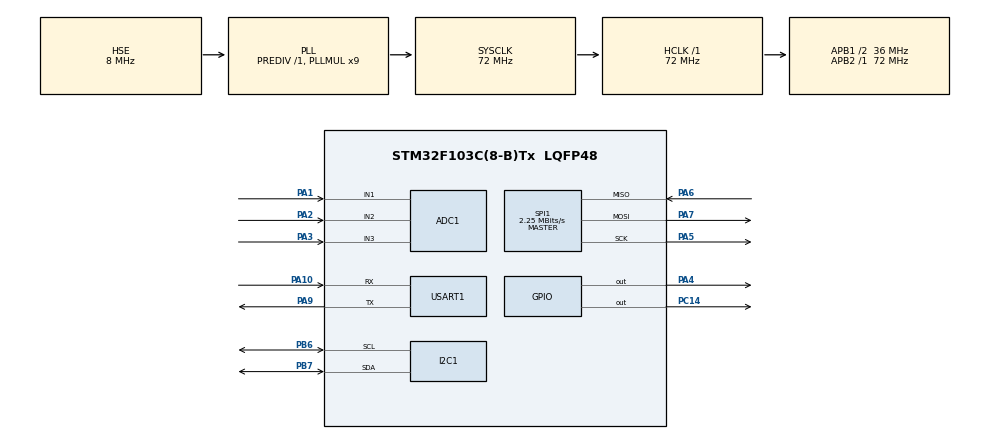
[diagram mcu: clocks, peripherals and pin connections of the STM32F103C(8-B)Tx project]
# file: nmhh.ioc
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ADC1.Channel-1\#ChannelRegularConversion=ADC_CHANNEL_1
ADC1.NbrOfConversion=1
ADC1.NbrOfConversionFlag=1
ADC1.Rank-1\#ChannelRegularConversion=1
ADC1.SamplingTime-1\#ChannelRegularConversion=ADC_SAMPLETIME_239CYCLES_5
ADC1.master=1
I2C1.GeneralCallMode=I2C_GENERALCALL_ENABLE
I2C1.OwnAddress=0x53
Mcu.Family=STM32F1
Mcu.Name=STM32F103C(8-B)Tx
Mcu.Package=LQFP48
NVIC.I2C1_ER_IRQn=true\:0\:0\:false\:false\:true\:true\:true\:true
NVIC.I2C1_EV_IRQn=true\:0\:0\:false\:false\:true\:true\:true\:true
NVIC.PriorityGroup=NVIC_PRIORITYGROUP_4
PA1.Signal=ADCx_IN1
PA10.Mode=Asynchronous
PA10.Signal=USART1_RX
PA13.Mode=Serial_Wire
PA13.Signal=SYS_JTMS-SWDIO
PA14.Mode=Serial_Wire
PA14.Signal=SYS_JTCK-SWCLK
PA2.Signal=ADCx_IN2
PA3.Signal=ADCx_IN3
PA4.GPIO_Speed=GPIO_SPEED_FREQ_HIGH
PA4.PinState=GPIO_PIN_SET
PA4.Signal=GPIO_Output
PA5.Mode=Full_Duplex_Master
PA5.Signal=SPI1_SCK
PA6.Mode=Full_Duplex_Master
PA6.Signal=SPI1_MISO
PA7.Mode=Full_Duplex_Master
PA7.Signal=SPI1_MOSI
PA9.Mode=Asynchronous
PA9.Signal=USART1_TX
PB6.Mode=I2C
PB6.Signal=I2C1_SCL
PB7.Mode=I2C
PB7.Signal=I2C1_SDA
PC14-OSC32_IN.Signal=GPIO_Output
PD0-OSC_IN.Mode=HSE-External-Oscillator
PD0-OSC_IN.Signal=RCC_OSC_IN
PD1-OSC_OUT.Mode=HSE-External-Oscillator
PD1-OSC_OUT.Signal=RCC_OSC_OUT
ProjectManager.HeapSize=0x200
ProjectManager.StackSize=0x400
ProjectManager.TargetToolchain=STM32CubeIDE
RCC.ADCPresc=RCC_ADCPCLK2_DIV6
RCC.AHBFreq_Value=72000000
RCC.APB1CLKDivider=RCC_HCLK_DIV2
RCC.APB1Freq_Value=36000000
RCC.APB1TimFreq_Value=72000000
RCC.APB2Freq_Value=72000000
RCC.APB2TimFreq_Value=72000000
RCC.HCLKFreq_Value=72000000
RCC.PLLMUL=RCC_PLL_MUL9
RCC.PLLSourceVirtual=RCC_PLLSOURCE_HSE
RCC.SYSCLKFreq_VALUE=72000000
RCC.SYSCLKSource=RCC_SYSCLKSOURCE_PLLCLK
RCC.USBFreq_Value=72000000
SH.ADCx_IN1.0=ADC1_IN1,IN1
SH.ADCx_IN2.0=ADC1_IN2,IN2
SH.ADCx_IN3.0=ADC1_IN3,IN3
SPI1.BaudRatePrescaler=SPI_BAUDRATEPRESCALER_32
SPI1.CalculateBaudRate=2.25 MBits/s
SPI1.Direction=SPI_DIRECTION_2LINES
SPI1.Mode=SPI_MODE_MASTER
SPI1.VirtualType=VM_MASTER
USART1.VirtualMode=VM_ASYNC
board=custom

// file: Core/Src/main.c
/* USER CODE BEGIN Header */
/**
  ******************************************************************************
  * @file           : main.c
  * @brief          : Main program body
  *
  ******************************************************************************
  * @attention
  *
  *
  * Copyright (c) 2024 STMicroelectronics.
  * All rights reserved.
  *
  * This software is licensed under terms that can be found in the LICENSE file
  * in the root directory of this software component.
  * If no LICENSE file comes with this software, it is provided AS-IS.
  *
  ******************************************************************************
  */
/* USER CODE END Header */
#include "main.h"

/* USER CODE BEGIN Includes */
#include "globalvars.h"
#include "string.h"
#include "math.h"
#include "W25Qxx.h"
#include "stdio.h"
#include "stdlib.h"
/* USER CODE END Includes */

ADC_HandleTypeDef hadc1;

I2C_HandleTypeDef hi2c1;

SPI_HandleTypeDef hspi1;

UART_HandleTypeDef huart1;

/* USER CODE BEGIN PV */
#define ADC_RESOLUTION 4095.0 // Resolution of the ADC
#define R_FIXED 10000000.0 // Reference resistor's value

float temperature1; // for storing the return value of the function calculateTemperature
float temperature2; // for storing the return value of the function calculateTemperature
float resistance; // for storing the return value of the function calculateResistance

uint16_t adc_values[3]; // Storing ADC values, index 0 -> temperature1 index 1 -> temperature2 index 2 -> resistance

//global variables
uint32_t unixTimestamp = 0;
uint8_t datatosend[16] = {0x3C, 0x3C, 0x3C, 0x3C, 0x4F, 0x6E, 0x69, 0x6F, 0x6E, 0x53, 0x41, 0x54, 0x3E, 0x3E, 0x3E, 0x3E}; // <<<<onionsat>>>> in hex
uint8_t datasendtype = 1; // Default = 1
uint16_t startSectorToSend = 0; // Default = 0
uint16_t numOfSectorsToSend = 1; // Default = 1
uint8_t datasent = 0;
uint8_t flashwrite = 0; // writes the flash experiment data onto the flash
uint8_t uartFlash = 0; // used to print a page of the falsh onto UART
uint32_t uartFlashPage = 0; // default page is 0 for UART print page
uint8_t UARTdebug = 1; // 1 to switch on UART debug
/* USER CODE END PV */

void SystemClock_Config(void);
static void MX_GPIO_Init(void);
static void MX_I2C1_Init(void);
static void MX_USART1_UART_Init(void);
static void MX_SPI1_Init(void);
static void MX_ADC1_Init(void);

/* USER CODE BEGIN 0 */

uint16_t readTemp1ADC(void)
{
	ADC_ChannelConfTypeDef sConfig = {0};

	sConfig.Channel = ADC_CHANNEL_1;
	sConfig.Rank = ADC_REGULAR_RANK_1;
	sConfig.SamplingTime = ADC_SAMPLETIME_239CYCLES_5;
	if (HAL_ADC_ConfigChannel(&hadc1, &sConfig) != HAL_OK)
	{
	  Error_Handler();
	}

	/* Convert the Channel */
	HAL_ADC_Start(&hadc1);
	HAL_ADC_PollForConversion(&hadc1, 100);
	uint16_t temp1adc = HAL_ADC_GetValue(&hadc1);
	HAL_ADC_Stop(&hadc1);

	return temp1adc;
}

uint16_t readResistanceADC(void)
{
	ADC_ChannelConfTypeDef sConfig = {0};

	sConfig.Channel = ADC_CHANNEL_2;
	sConfig.Rank = ADC_REGULAR_RANK_1;
	sConfig.SamplingTime = ADC_SAMPLETIME_239CYCLES_5;
	if (HAL_ADC_ConfigChannel(&hadc1, &sConfig) != HAL_OK)
	{
	  Error_Handler();
	}

	/* Convert the Channel */
	HAL_ADC_Start(&hadc1);
	HAL_ADC_PollForConversion(&hadc1, 100);
	uint16_t resistanceadc = HAL_ADC_GetValue(&hadc1);
	HAL_ADC_Stop(&hadc1);

	return resistanceadc;
}

uint16_t readTemp2ADC(void)
{
	ADC_ChannelConfTypeDef sConfig = {0};

	sConfig.Channel = ADC_CHANNEL_3;
	sConfig.Rank = ADC_REGULAR_RANK_1;
	sConfig.SamplingTime = ADC_SAMPLETIME_239CYCLES_5;
	if (HAL_ADC_ConfigChannel(&hadc1, &sConfig) != HAL_OK)
	{
	  Error_Handler();
	}

	/* Convert the Channel */
	HAL_ADC_Start(&hadc1);
	HAL_ADC_PollForConversion(&hadc1, 100);
	uint16_t temp2adc = HAL_ADC_GetValue(&hadc1);
	HAL_ADC_Stop(&hadc1);

	return temp2adc;
}

// Gives back temperature from an ADC value
float calculateTemperature(uint16_t adcValue)
{
    // Calculating resistance of termistor
    float R_term = ((((float)adcValue/4095.0)*3.3)*10000.0)/(3.3-(((float)adcValue/4095.0)*3.3));

    // Calculating temperature in resistance
    float T_kelvin = (298.15*3950.0)/((log(R_term/10000.0)*298.15)+3950.0);

    // Changing temperature onto Celsius
    float T_celsius = T_kelvin - 273.15;

    return T_celsius;
}

// Gives back resistance of the liquid from an ADC value
float calculateResistance(uint16_t adcValue)
{
	// Calculating resistance
	float resistance = ((ADC_RESOLUTION-adcValue)/adcValue)*R_FIXED;

	return resistance;
}
/* USER CODE END 0 */

int main(void)
{

  /* MCU Configuration--------------------------------------------------------*/

  /* Reset of all peripherals, Initializes the Flash interface and the Systick. */
  HAL_Init();

  /* Configure the system clock */
  SystemClock_Config();

  /* Initialize all configured peripherals */
  MX_GPIO_Init();
  MX_I2C1_Init();
  MX_USART1_UART_Init();
  MX_SPI1_Init();
  MX_ADC1_Init();
  /* USER CODE BEGIN 2 */

  if (HAL_I2C_EnableListen_IT(&hi2c1) != HAL_OK)
  {
	  Error_Handler();
  }

  /* USER CODE END 2 */

  /* Infinite loop */
  /* USER CODE BEGIN WHILE */
  while(1)
  {
	  if(flashwrite == 1)
	  {
		  flashwrite = 0;

		  writeExperiment();
	  }

	  if(uartFlash == 1)
	  {
		  uartFlash = 0;

		  UARTlogPage(uartFlashPage);
	  }

	  if(datasent == 1)
	  {
		  if(datasendtype == 1) // normal
		  {
			  // Getting ADC datas
			  adc_values[0] = readTemp1ADC();
			  adc_values[1] = readTemp2ADC();
			  adc_values[2] = readResistanceADC();

			  // datatosend: 0x01, temperature, temperature, experiment, unix timestamp
			  datatosend[0] = 0x01; // first byte is for the mode

			  //  6 bytes for the ADC values
			  datatosend[1] = (adc_values[0] >> 8) & 0xFF;
			  datatosend[2] = adc_values[0] & 0xFF;
			  datatosend[3] = (adc_values[1] >> 8) & 0xFF;
			  datatosend[4] = adc_values[1] & 0xFF;
			  datatosend[5] = (adc_values[2] >> 8) & 0xFF;
			  datatosend[6] = adc_values[2] & 0xFF;

			  uint32_t currentUnixTimestamp = unixTimestamp;

			  // 4 bytes for the unixtimestamp
			  datatosend[7] = (currentUnixTimestamp >> 24) & 0xFF;
			  datatosend[8] = (currentUnixTimestamp >> 16) & 0xFF;
			  datatosend[9] = (currentUnixTimestamp >> 8) & 0xFF;
			  datatosend[10] = currentUnixTimestamp & 0xFF;

			  // unused bytes are 0xCB
			  for(int z = 11; z < 16; z++)
			  {
				  datatosend[z] = 0xCB;
			  }
		  }

		  if(datasendtype == 2) // bitflips
		  {
			  uint32_t countOfBitflips = readExperiment(startSectorToSend, numOfSectorsToSend);

			  // datatosend: 0x01, number of bitflips, startsector, number of pages, unix timestamp
			  datatosend[0] = 0x02; // first byte is for the mode

			  // 4 bytes for bitlips
			  datatosend[1] = (countOfBitflips >> 24) & 0xFF;
			  datatosend[2] = (countOfBitflips >> 16) & 0xFF;
			  datatosend[3] = (countOfBitflips >> 8) & 0xFF;
			  datatosend[4] = countOfBitflips & 0xFF;

			  // 2 bytes for startsector
			  datatosend[5] = (startSectorToSend >> 8) & 0xFF;
			  datatosend[6] = startSectorToSend & 0xFF;

			  // 2 bytes for number of sectors
			  datatosend[7] = (numOfSectorsToSend >> 8) & 0xFF;
			  datatosend[8] = numOfSectorsToSend & 0xFF;

			  uint32_t currentUnixTimestamp = unixTimestamp;

			  // 4 bytes for unixtimestamp
			  datatosend[9] = (currentUnixTimestamp >> 24) & 0xFF;
			  datatosend[10] = (currentUnixTimestamp >> 16) & 0xFF;
			  datatosend[11] = (currentUnixTimestamp >> 8) & 0xFF;
			  datatosend[12] = currentUnixTimestamp & 0xFF;

			  for(int z = 13; z < 16; z++)
			  {
				datatosend[z] = 0xCB;
			  }

			  datasendtype = 1;
		  }
		  datasent = 0;
	  }
	  HAL_Delay(50);
  }
    /* USER CODE END WHILE */

}

void SystemClock_Config(void)
{
  RCC_OscInitTypeDef RCC_OscInitStruct = {0};
  RCC_ClkInitTypeDef RCC_ClkInitStruct = {0};
  RCC_PeriphCLKInitTypeDef PeriphClkInit = {0};

  /** Initializes the RCC Oscillators according to the specified parameters
  * in the RCC_OscInitTypeDef structure.
  */
  RCC_OscInitStruct.OscillatorType = RCC_OSCILLATORTYPE_HSE;
  RCC_OscInitStruct.HSEState = RCC_HSE_ON;
  RCC_OscInitStruct.HSEPredivValue = RCC_HSE_PREDIV_DIV1;
  RCC_OscInitStruct.HSIState = RCC_HSI_ON;
  RCC_OscInitStruct.PLL.PLLState = RCC_PLL_ON;
  RCC_OscInitStruct.PLL.PLLSource = RCC_PLLSOURCE_HSE;
  RCC_OscInitStruct.PLL.PLLMUL = RCC_PLL_MUL9;
  if (HAL_RCC_OscConfig(&RCC_OscInitStruct) != HAL_OK)
  {
    Error_Handler();
  }

  /** Initializes the CPU, AHB and APB buses clocks
  */
  RCC_ClkInitStruct.ClockType = RCC_CLOCKTYPE_HCLK|RCC_CLOCKTYPE_SYSCLK
                              |RCC_CLOCKTYPE_PCLK1|RCC_CLOCKTYPE_PCLK2;
  RCC_ClkInitStruct.SYSCLKSource = RCC_SYSCLKSOURCE_PLLCLK;
  RCC_ClkInitStruct.AHBCLKDivider = RCC_SYSCLK_DIV1;
  RCC_ClkInitStruct.APB1CLKDivider = RCC_HCLK_DIV2;
  RCC_ClkInitStruct.APB2CLKDivider = RCC_HCLK_DIV1;

  if (HAL_RCC_ClockConfig(&RCC_ClkInitStruct, FLASH_LATENCY_2) != HAL_OK)
  {
    Error_Handler();
  }
  PeriphClkInit.PeriphClockSelection = RCC_PERIPHCLK_ADC;
  PeriphClkInit.AdcClockSelection = RCC_ADCPCLK2_DIV6;
  if (HAL_RCCEx_PeriphCLKConfig(&PeriphClkInit) != HAL_OK)
  {
    Error_Handler();
  }
}

static void MX_ADC1_Init(void)
{

  //ADC_ChannelConfTypeDef sConfig = {0};

  /** Common config
  */
  hadc1.Instance = ADC1;
  hadc1.Init.ScanConvMode = ADC_SCAN_DISABLE;
  hadc1.Init.ContinuousConvMode = DISABLE;
  hadc1.Init.DiscontinuousConvMode = DISABLE;
  hadc1.Init.ExternalTrigConv = ADC_SOFTWARE_START;
  hadc1.Init.DataAlign = ADC_DATAALIGN_RIGHT;
  hadc1.Init.NbrOfConversion = 1;
  if (HAL_ADC_Init(&hadc1) != HAL_OK)
  {
    Error_Handler();
  }

  /** Configure Regular Channel
  */

  /*
  sConfig.Channel = ADC_CHANNEL_1;
  sConfig.Rank = ADC_REGULAR_RANK_1;
  sConfig.SamplingTime = ADC_SAMPLETIME_239CYCLES_5;
  if (HAL_ADC_ConfigChannel(&hadc1, &sConfig) != HAL_OK)
  {
    Error_Handler();
  }
  */

}

static void MX_I2C1_Init(void)
{

  hi2c1.Instance = I2C1;
  hi2c1.Init.ClockSpeed = 100000;
  hi2c1.Init.DutyCycle = I2C_DUTYCYCLE_2;
  hi2c1.Init.OwnAddress1 = 166;
  hi2c1.Init.AddressingMode = I2C_ADDRESSINGMODE_7BIT;
  hi2c1.Init.DualAddressMode = I2C_DUALADDRESS_DISABLE;
  hi2c1.Init.OwnAddress2 = 0;
  hi2c1.Init.GeneralCallMode = I2C_GENERALCALL_ENABLE;
  hi2c1.Init.NoStretchMode = I2C_NOSTRETCH_DISABLE;
  if (HAL_I2C_Init(&hi2c1) != HAL_OK)
  {
    Error_Handler();
  }

}

static void MX_SPI1_Init(void)
{

  /* SPI1 parameter configuration*/
  hspi1.Instance = SPI1;
  hspi1.Init.Mode = SPI_MODE_MASTER;
  hspi1.Init.Direction = SPI_DIRECTION_2LINES;
  hspi1.Init.DataSize = SPI_DATASIZE_8BIT;
  hspi1.Init.CLKPolarity = SPI_POLARITY_LOW;
  hspi1.Init.CLKPhase = SPI_PHASE_1EDGE;
  hspi1.Init.NSS = SPI_NSS_SOFT;
  hspi1.Init.BaudRatePrescaler = SPI_BAUDRATEPRESCALER_32;
  hspi1.Init.FirstBit = SPI_FIRSTBIT_MSB;
  hspi1.Init.TIMode = SPI_TIMODE_DISABLE;
  hspi1.Init.CRCCalculation = SPI_CRCCALCULATION_DISABLE;
  hspi1.Init.CRCPolynomial = 10;
  if (HAL_SPI_Init(&hspi1) != HAL_OK)
  {
    Error_Handler();
  }

}

static void MX_USART1_UART_Init(void)
{

  huart1.Instance = USART1;
  huart1.Init.BaudRate = 115200;
  huart1.Init.WordLength = UART_WORDLENGTH_8B;
  huart1.Init.StopBits = UART_STOPBITS_1;
  huart1.Init.Parity = UART_PARITY_NONE;
  huart1.Init.Mode = UART_MODE_TX_RX;
  huart1.Init.HwFlowCtl = UART_HWCONTROL_NONE;
  huart1.Init.OverSampling = UART_OVERSAMPLING_16;
  if (HAL_UART_Init(&huart1) != HAL_OK)
  {
    Error_Handler();
  }

}

static void MX_GPIO_Init(void)
{
  GPIO_InitTypeDef GPIO_InitStruct = {0};

  /* GPIO Ports Clock Enable */
  __HAL_RCC_GPIOC_CLK_ENABLE();
  __HAL_RCC_GPIOD_CLK_ENABLE();
  __HAL_RCC_GPIOA_CLK_ENABLE();
  __HAL_RCC_GPIOB_CLK_ENABLE();

  /*Configure GPIO pin Output Level */
  HAL_GPIO_WritePin(GPIOC, GPIO_PIN_14, GPIO_PIN_RESET);

  /*Configure GPIO pin Output Level */
  HAL_GPIO_WritePin(GPIOA, GPIO_PIN_4, GPIO_PIN_SET);

  /*Configure GPIO pin : PC14 */
  GPIO_InitStruct.Pin = GPIO_PIN_14;
  GPIO_InitStruct.Mode = GPIO_MODE_OUTPUT_PP;
  GPIO_InitStruct.Pull = GPIO_NOPULL;
  GPIO_InitStruct.Speed = GPIO_SPEED_FREQ_LOW;
  HAL_GPIO_Init(GPIOC, &GPIO_InitStruct);

  /*Configure GPIO pin : PA4 */
  GPIO_InitStruct.Pin = GPIO_PIN_4;
  GPIO_InitStruct.Mode = GPIO_MODE_OUTPUT_PP;
  GPIO_InitStruct.Pull = GPIO_NOPULL;
  GPIO_InitStruct.Speed = GPIO_SPEED_FREQ_HIGH;
  HAL_GPIO_Init(GPIOA, &GPIO_InitStruct);

}

void Error_Handler(void)
{
  __disable_irq();
  while (1)
  {
  }
}
